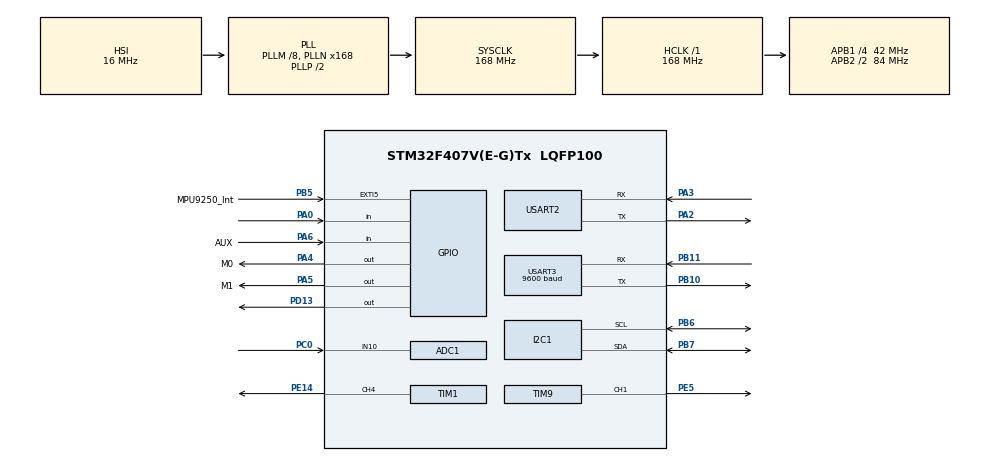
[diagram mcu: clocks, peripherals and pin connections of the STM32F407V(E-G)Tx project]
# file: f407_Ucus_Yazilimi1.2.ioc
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ADC1.Channel-0\#ChannelRegularConversion=ADC_CHANNEL_10
ADC1.ContinuousConvMode=ENABLE
ADC1.NbrOfConversionFlag=1
ADC1.Rank-0\#ChannelRegularConversion=1
ADC1.SamplingTime-0\#ChannelRegularConversion=ADC_SAMPLETIME_112CYCLES
ADC1.master=1
Dma.Request0=USART2_TX
Dma.Request1=USART2_RX
Dma.USART2_RX.1.Direction=DMA_PERIPH_TO_MEMORY
Dma.USART2_RX.1.FIFOMode=DMA_FIFOMODE_DISABLE
Dma.USART2_RX.1.Instance=DMA1_Stream5
Dma.USART2_RX.1.MemDataAlignment=DMA_MDATAALIGN_BYTE
Dma.USART2_RX.1.MemInc=DMA_MINC_ENABLE
Dma.USART2_RX.1.Mode=DMA_NORMAL
Dma.USART2_RX.1.PeriphDataAlignment=DMA_PDATAALIGN_BYTE
Dma.USART2_RX.1.PeriphInc=DMA_PINC_DISABLE
Dma.USART2_RX.1.Priority=DMA_PRIORITY_LOW
Dma.USART2_TX.0.Direction=DMA_MEMORY_TO_PERIPH
Dma.USART2_TX.0.FIFOMode=DMA_FIFOMODE_DISABLE
Dma.USART2_TX.0.Instance=DMA1_Stream6
Dma.USART2_TX.0.MemDataAlignment=DMA_MDATAALIGN_BYTE
Dma.USART2_TX.0.MemInc=DMA_MINC_ENABLE
Dma.USART2_TX.0.Mode=DMA_NORMAL
Dma.USART2_TX.0.PeriphDataAlignment=DMA_PDATAALIGN_BYTE
Dma.USART2_TX.0.PeriphInc=DMA_PINC_DISABLE
Dma.USART2_TX.0.Priority=DMA_PRIORITY_LOW
I2C1.I2C_Mode=I2C_Fast
Mcu.Family=STM32F4
Mcu.Name=STM32F407V(E-G)Tx
Mcu.Package=LQFP100
NVIC.DMA1_Stream5_IRQn=true\:0\:0\:false\:false\:true\:false\:true\:true
NVIC.DMA1_Stream6_IRQn=true\:0\:0\:false\:false\:true\:false\:true\:true
NVIC.EXTI9_5_IRQn=true\:0\:0\:false\:false\:true\:true\:true\:true
NVIC.PriorityGroup=NVIC_PRIORITYGROUP_4
NVIC.TIM6_DAC_IRQn=true\:0\:0\:false\:false\:true\:true\:true\:true
NVIC.TIM8_BRK_TIM12_IRQn=true\:0\:0\:false\:false\:true\:true\:true\:true
NVIC.USART2_IRQn=true\:0\:0\:false\:false\:true\:true\:true\:true
NVIC.USART3_IRQn=true\:0\:0\:false\:false\:true\:true\:true\:true
PA0-WKUP.GPIO_PuPd=GPIO_PULLDOWN
PA0-WKUP.Signal=GPIO_Input
PA2.Mode=Asynchronous
PA2.Signal=USART2_TX
PA3.Mode=Asynchronous
PA3.Signal=USART2_RX
PA4.GPIO_Label=M0
PA4.Signal=GPIO_Output
PA5.GPIO_Label=M1
PA5.Signal=GPIO_Output
PA6.GPIO_Label=AUX
PA6.Signal=GPIO_Input
PB10.Mode=Asynchronous
PB10.Signal=USART3_TX
PB11.Mode=Asynchronous
PB11.Signal=USART3_RX
PB5.GPIO_Label=MPU9250_Int
PB5.Signal=GPXTI5
PB6.Mode=I2C
PB6.Signal=I2C1_SCL
PB7.Mode=I2C
PB7.Signal=I2C1_SDA
PC0.Signal=ADCx_IN10
PD13.Signal=GPIO_Output
PE14.Signal=S_TIM1_CH4
PE5.Signal=S_TIM9_CH1
ProjectManager.HeapSize=0x200
ProjectManager.StackSize=0x400
ProjectManager.TargetToolchain=STM32CubeIDE
RCC.48MHZClocksFreq_Value=84000000
RCC.AHBFreq_Value=168000000
RCC.APB1CLKDivider=RCC_HCLK_DIV4
RCC.APB1Freq_Value=42000000
RCC.APB1TimFreq_Value=84000000
RCC.APB2CLKDivider=RCC_HCLK_DIV2
RCC.APB2Freq_Value=84000000
RCC.APB2TimFreq_Value=168000000
RCC.CortexFreq_Value=168000000
RCC.HCLKFreq_Value=168000000
RCC.HSE_VALUE=25000000
RCC.HSI_VALUE=16000000
RCC.LSE_VALUE=32768
RCC.PLLM=8
RCC.PLLN=168
RCC.SYSCLKFreq_VALUE=168000000
RCC.SYSCLKSource=RCC_SYSCLKSOURCE_PLLCLK
RCC.VCOOutputFreq_Value=336000000
SH.ADCx_IN10.0=ADC1_IN10,IN10
SH.S_TIM1_CH4.0=TIM1_CH4,PWM Generation4 CH4
SH.S_TIM9_CH1.0=TIM9_CH1,PWM Generation1 CH1
TIM1.Channel-PWM\ Generation4\ CH4=TIM_CHANNEL_4
TIM1.Period=19999
TIM1.Prescaler=167
TIM12.AutoReloadPreload=TIM_AUTORELOAD_PRELOAD_ENABLE
TIM12.Period=5000-1
TIM12.Prescaler=84-1
TIM2.AutoReloadPreload=TIM_AUTORELOAD_PRELOAD_ENABLE
TIM2.Prescaler=84-1
TIM6.Period=4999
TIM6.Prescaler=8399
TIM9.Channel-PWM\ Generation1\ CH1=TIM_CHANNEL_1
TIM9.Period=19999
TIM9.Prescaler=167
USART2.VirtualMode=VM_ASYNC
USART3.BaudRate=9600
USART3.VirtualMode=VM_ASYNC
VP_TIM12_VS_ClockSourceINT.Mode=Internal
VP_TIM1_VS_ClockSourceINT.Mode=Internal
VP_TIM2_VS_ClockSourceINT.Mode=Internal
VP_TIM6_VS_ClockSourceINT.Mode=Enable_Timer
VP_TIM9_VS_ClockSourceINT.Mode=Internal
board=custom

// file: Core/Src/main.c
/* USER CODE BEGIN Header */
/**
  ******************************************************************************
  * @file           : main.c
  * @brief          : Main program body
  ******************************************************************************
  * @attention
  *
  * Copyright (c) 2026 STMicroelectronics.
  * All rights reserved.
  *
  * This software is licensed under terms that can be found in the LICENSE file
  * in the root directory of this software component.
  * If no LICENSE file comes with this software, it is provided AS-IS.
  *
  ******************************************************************************
  */
/* USER CODE END Header */
#include "main.h"

/* USER CODE BEGIN Includes */
#include "M0.0_DataCenter.h"
#include "Sensor_Kodlari.h"
#include "Eylem_Bloklari.h"
#include "M3.1_Calibration.h"

#include "M3.0_FilterSystem.h"
#include "M3.2_Attitude.h"
#include "M3.3_Yaw.h"

#include "TM.h"
/* USER CODE END Includes */

/* USER CODE BEGIN PTD */
DataCenter DC;
/* USER CODE END PTD */

ADC_HandleTypeDef hadc1;

I2C_HandleTypeDef hi2c1;

TIM_HandleTypeDef htim1;
TIM_HandleTypeDef htim2;
TIM_HandleTypeDef htim6;
TIM_HandleTypeDef htim9;
TIM_HandleTypeDef htim12;

UART_HandleTypeDef huart2;
UART_HandleTypeDef huart3;
DMA_HandleTypeDef hdma_usart2_tx;
DMA_HandleTypeDef hdma_usart2_rx;

/* USER CODE BEGIN PV */
uint8_t watchdog=0;
uint8_t akis_yonlendiricisi=0;

uint8_t TelemetriTimer = 0;
uint8_t SensorTimer = 0;

uint32_t kestirimTimerLastMicro = 0;

volatile uint8_t tx_complete = 1;
volatile uint8_t mod_degisti_bayragi = 1;
volatile uint8_t veri_geldi_bayragi  = 0;
volatile uint16_t rx_uzunluk         = 0;
volatile int32_t aktif_mod           = SISTEM_MOD_TX; // 0: TX (Telemetri Gönder), 1: RX (Komut Bekle)
volatile uint32_t paket_sayaci = 0;
/* USER CODE END PV */

void SystemClock_Config(void);
static void MX_GPIO_Init(void);
static void MX_DMA_Init(void);
static void MX_TIM2_Init(void);
static void MX_I2C1_Init(void);
static void MX_TIM12_Init(void);
static void MX_ADC1_Init(void);
static void MX_USART3_UART_Init(void);
static void MX_USART2_UART_Init(void);
static void MX_TIM6_Init(void);
static void MX_TIM9_Init(void);
static void MX_TIM1_Init(void);
/* USER CODE BEGIN PFP */
uint32_t getMicros(void);
/* USER CODE END PFP */

int main(void)
{

  /* MCU Configuration--------------------------------------------------------*/

  /* Reset of all peripherals, Initializes the Flash interface and the Systick. */
  HAL_Init();

  /* Configure the system clock */
  SystemClock_Config();

  /* Initialize all configured peripherals */
  MX_GPIO_Init();
  MX_DMA_Init();
  MX_TIM2_Init();
  MX_I2C1_Init();
  MX_TIM12_Init();
  MX_ADC1_Init();
  MX_USART3_UART_Init();
  MX_USART2_UART_Init();
  MX_TIM6_Init();
  MX_TIM9_Init();
  MX_TIM1_Init();
  /* USER CODE BEGIN 2 */
  HAL_TIM_Base_Start(&htim2);
  HAL_TIM_Base_Start_IT(&htim6);
  HAL_TIM_PWM_Start(&htim9, TIM_CHANNEL_1);
  HAL_TIM_PWM_Start(&htim1, TIM_CHANNEL_4);

  M3_1_Calibration_LoadDefaults(&DC);

  FilterSystem_Init(&DC);

  kestirimTimerLastMicro = getMicros();

  //HAL_TIM_Base_Start(&htim12);
  HAL_TIM_Base_Start_IT(&htim12);

  if(Sensors_Init(&hi2c1, &huart3, MPU9250_Int_Pin)==0){
	  Error_Handler();
  }

  static uint32_t calibmenusayac=0;
  while(HAL_GPIO_ReadPin(GPIOA, GPIO_PIN_0)==0){calibmenusayac = HAL_GetTick(); watchdog=1;}
  while(HAL_GPIO_ReadPin(GPIOA, GPIO_PIN_0)==1){watchdog=2;}
  if(HAL_GetTick()-calibmenusayac <= 1000){
	  akis_yonlendiricisi=0;
  }

  else if(HAL_GetTick()-calibmenusayac > 1000){
	  akis_yonlendiricisi=20;
  }

HAL_Delay(500);
watchdog=10;

HAL_GPIO_WritePin(GPIOA, M0_Pin, GPIO_PIN_RESET);
  HAL_GPIO_WritePin(GPIOA, M1_Pin, GPIO_PIN_RESET);
    // Modülün moda geçmesi için kısa bir süre bekle
    HAL_Delay(5);

    // Başlangıçta struct'ın içini temizle (paket no vs. 0 olsun)
  /*memset(&telemetri, 0, sizeof(TelemetriPaketi_t));
  memset(&sensorler, 0, sizeof(SensorVerileri_t));*/

  HAL_TIM_Base_Start_IT(&htim2);

  /* USER CODE END 2 */

  /* Infinite loop */
  while (1)
  {

    /* USER CODE BEGIN 3 */

	  /* --- GÖREV 1: ZAMAN DİLİMİ (MOD) DE�?İ�?İMİ --- */
	  if (mod_degisti_bayragi==1)
	  {
		  watchdog=80;
		  mod_degisti_bayragi = 0;

		  if (aktif_mod == SISTEM_MOD_TX)
		  {
			  watchdog=81;
			  // Sensörleri oku ve paketi hazırla
			  Sensor_Oku(&DC);
			  TM_Paket_Olustur();

			  // LoRa modülü önceki işlemden veya dinlemeden çıkıp boşa çıkana kadar bekle
			  while (HAL_GPIO_ReadPin(AUX_GPIO_Port, AUX_Pin) == GPIO_PIN_RESET) {}

			  Telemetri_Gonder();
			  paket_sayaci++;
		  }
		  else if (aktif_mod == SISTEM_MOD_RX)
		  {
			  watchdog=82;
			  // LoRa modülü boştayken dinlemeye başla
			  while (HAL_GPIO_ReadPin(AUX_GPIO_Port, AUX_Pin) == GPIO_PIN_RESET) {}
			  Komut_Dinlemeye_Basla();
		  }
	  }

	  /* --- GÖREV 2: YER İSTASYONUNDAN KOMUT GELDİ --- */
	  if (veri_geldi_bayragi==1)
	  {
		  veri_geldi_bayragi = 0;

		  // Çakışmayı önlemek için sadece RX modundayken gelen veriyi işle
		  if (aktif_mod == SISTEM_MOD_RX)
		  {
			  Komut_Isle();
		  }
	  }

	  TelemetriFonksiyonu(TelemetriTimer);
	  SensorleriOku(&DC,getMicros());

	  switch(akis_yonlendiricisi){

	  case 0:
		  TelemetriTimer=1;
		  VideoFunction(1);
		  SensorTimer=1;
		  akis_yonlendiricisi=1;
		  break;

	  case 1:
		  /*if(FallingStart(&datacenter, getMicros())==1){
			  akis_yonlendiricisi=2;
		  }*/
		  break;

	  case 2:
		  /*if(AyrilmaliMi(&datacenter, getMicros())==1){
			  Ayril();
			  akis_yonlendiricisi=3;
		  }*/
		  break;

	  case 3:
		  /*if(AyrildiMi(&datacenter, getMicros())==1){
			  SigmaAc();
			  //MotorArm();
			  PidHedefYukseklik(HOVER_YUKSEKLIGI_m);
			  akis_yonlendiricisi=4;
		  }*/
		  break;

	  case 4:
		  //SigmaKontrolBlogu
		  /*if(ApamAcilmaliMi(&datacenter, getMicros())==1){
			  ApamAc();
			  akis_yonlendiricisi=8;
			  break;
		  }
		  if(HoverStart(&datacenter, getMicros())==1){

		  }
		  if(HoverExit(&datacenter, getMicros())==1){
			  PidHedefYukseklik(YERE_INIS_YUKSEKLIGI_m);
		  }
		  if(FallingStop(&datacenter, getMicros())==1){
			  //MotorStop();
			  VideoFunction(0);
			  akis_yonlendiricisi=5;
		  }*/
		  break;

	  case 5:
		  if(Buzzer(10000)==1){
			  TelemetriTimer=0;
			  SensorTimer=0;
			  akis_yonlendiricisi=6;
		  }
		  break;

	  case 8:
		  /*if(FallingStop(&datacenter, getMicros())==1){
			  VideoFunction(0);
			  akis_yonlendiricisi=5;
		  }*/
		  break;

	  case 20:
		  watchdog=20;
		  M3_1_Calibration_Reset();
		  calibmenusayac = HAL_GetTick();
		  akis_yonlendiricisi=21;

		  break;

	  case 21:
		  watchdog=21;
		  M3_1_Calibration_Accumulate(&DC);
		  if(HAL_GetTick() - calibmenusayac > 5000){
			  akis_yonlendiricisi=22;
		  }
		  break;

	  case 22:
		  watchdog=22;
		  HAL_NVIC_DisableIRQ(TIM8_BRK_TIM12_IRQn); // Kesmeyi durdur
		  M3_1_Calibration_Calculate(&DC);
		  FilterSystem_Init(&DC);
		  HAL_NVIC_EnableIRQ(TIM8_BRK_TIM12_IRQn);  // İşlem bitince tekrar aç
		  akis_yonlendiricisi = 50;
		  break;

	  case 50:
		  //watchdog=23;
		  break;
	  }

  }

  /* USER CODE END 3 */
}

void SystemClock_Config(void)
{
  RCC_OscInitTypeDef RCC_OscInitStruct = {0};
  RCC_ClkInitTypeDef RCC_ClkInitStruct = {0};

  /** Configure the main internal regulator output voltage
  */
  __HAL_RCC_PWR_CLK_ENABLE();
  __HAL_PWR_VOLTAGESCALING_CONFIG(PWR_REGULATOR_VOLTAGE_SCALE1);

  /** Initializes the RCC Oscillators according to the specified parameters
  * in the RCC_OscInitTypeDef structure.
  */
  RCC_OscInitStruct.OscillatorType = RCC_OSCILLATORTYPE_HSI;
  RCC_OscInitStruct.HSIState = RCC_HSI_ON;
  RCC_OscInitStruct.HSICalibrationValue = RCC_HSICALIBRATION_DEFAULT;
  RCC_OscInitStruct.PLL.PLLState = RCC_PLL_ON;
  RCC_OscInitStruct.PLL.PLLSource = RCC_PLLSOURCE_HSI;
  RCC_OscInitStruct.PLL.PLLM = 8;
  RCC_OscInitStruct.PLL.PLLN = 168;
  RCC_OscInitStruct.PLL.PLLP = RCC_PLLP_DIV2;
  RCC_OscInitStruct.PLL.PLLQ = 4;
  if (HAL_RCC_OscConfig(&RCC_OscInitStruct) != HAL_OK)
  {
    Error_Handler();
  }

  /** Initializes the CPU, AHB and APB buses clocks
  */
  RCC_ClkInitStruct.ClockType = RCC_CLOCKTYPE_HCLK|RCC_CLOCKTYPE_SYSCLK
                              |RCC_CLOCKTYPE_PCLK1|RCC_CLOCKTYPE_PCLK2;
  RCC_ClkInitStruct.SYSCLKSource = RCC_SYSCLKSOURCE_PLLCLK;
  RCC_ClkInitStruct.AHBCLKDivider = RCC_SYSCLK_DIV1;
  RCC_ClkInitStruct.APB1CLKDivider = RCC_HCLK_DIV4;
  RCC_ClkInitStruct.APB2CLKDivider = RCC_HCLK_DIV2;

  if (HAL_RCC_ClockConfig(&RCC_ClkInitStruct, FLASH_LATENCY_5) != HAL_OK)
  {
    Error_Handler();
  }
}

static void MX_ADC1_Init(void)
{

  ADC_ChannelConfTypeDef sConfig = {0};

  /** Configure the global features of the ADC (Clock, Resolution, Data Alignment and number of conversion)
  */
  hadc1.Instance = ADC1;
  hadc1.Init.ClockPrescaler = ADC_CLOCK_SYNC_PCLK_DIV4;
  hadc1.Init.Resolution = ADC_RESOLUTION_12B;
  hadc1.Init.ScanConvMode = DISABLE;
  hadc1.Init.ContinuousConvMode = ENABLE;
  hadc1.Init.DiscontinuousConvMode = DISABLE;
  hadc1.Init.ExternalTrigConvEdge = ADC_EXTERNALTRIGCONVEDGE_NONE;
  hadc1.Init.ExternalTrigConv = ADC_SOFTWARE_START;
  hadc1.Init.DataAlign = ADC_DATAALIGN_RIGHT;
  hadc1.Init.NbrOfConversion = 1;
  hadc1.Init.DMAContinuousRequests = DISABLE;
  hadc1.Init.EOCSelection = ADC_EOC_SINGLE_CONV;
  if (HAL_ADC_Init(&hadc1) != HAL_OK)
  {
    Error_Handler();
  }

  /** Configure for the selected ADC regular channel its corresponding rank in the sequencer and its sample time.
  */
  sConfig.Channel = ADC_CHANNEL_10;
  sConfig.Rank = 1;
  sConfig.SamplingTime = ADC_SAMPLETIME_112CYCLES;
  if (HAL_ADC_ConfigChannel(&hadc1, &sConfig) != HAL_OK)
  {
    Error_Handler();
  }

}

static void MX_I2C1_Init(void)
{

  hi2c1.Instance = I2C1;
  hi2c1.Init.ClockSpeed = 400000;
  hi2c1.Init.DutyCycle = I2C_DUTYCYCLE_2;
  hi2c1.Init.OwnAddress1 = 0;
  hi2c1.Init.AddressingMode = I2C_ADDRESSINGMODE_7BIT;
  hi2c1.Init.DualAddressMode = I2C_DUALADDRESS_DISABLE;
  hi2c1.Init.OwnAddress2 = 0;
  hi2c1.Init.GeneralCallMode = I2C_GENERALCALL_DISABLE;
  hi2c1.Init.NoStretchMode = I2C_NOSTRETCH_DISABLE;
  if (HAL_I2C_Init(&hi2c1) != HAL_OK)
  {
    Error_Handler();
  }

}

static void MX_TIM1_Init(void)
{

  TIM_ClockConfigTypeDef sClockSourceConfig = {0};
  TIM_MasterConfigTypeDef sMasterConfig = {0};
  TIM_OC_InitTypeDef sConfigOC = {0};
  TIM_BreakDeadTimeConfigTypeDef sBreakDeadTimeConfig = {0};

  htim1.Instance = TIM1;
  htim1.Init.Prescaler = 167;
  htim1.Init.CounterMode = TIM_COUNTERMODE_UP;
  htim1.Init.Period = 19999;
  htim1.Init.ClockDivision = TIM_CLOCKDIVISION_DIV1;
  htim1.Init.RepetitionCounter = 0;
  htim1.Init.AutoReloadPreload = TIM_AUTORELOAD_PRELOAD_DISABLE;
  if (HAL_TIM_Base_Init(&htim1) != HAL_OK)
  {
    Error_Handler();
  }
  sClockSourceConfig.ClockSource = TIM_CLOCKSOURCE_INTERNAL;
  if (HAL_TIM_ConfigClockSource(&htim1, &sClockSourceConfig) != HAL_OK)
  {
    Error_Handler();
  }
  if (HAL_TIM_PWM_Init(&htim1) != HAL_OK)
  {
    Error_Handler();
  }
  sMasterConfig.MasterOutputTrigger = TIM_TRGO_RESET;
  sMasterConfig.MasterSlaveMode = TIM_MASTERSLAVEMODE_DISABLE;
  if (HAL_TIMEx_MasterConfigSynchronization(&htim1, &sMasterConfig) != HAL_OK)
  {
    Error_Handler();
  }
  sConfigOC.OCMode = TIM_OCMODE_PWM1;
  sConfigOC.Pulse = 0;
  sConfigOC.OCPolarity = TIM_OCPOLARITY_HIGH;
  sConfigOC.OCFastMode = TIM_OCFAST_DISABLE;
  sConfigOC.OCIdleState = TIM_OCIDLESTATE_RESET;
  sConfigOC.OCNIdleState = TIM_OCNIDLESTATE_RESET;
  if (HAL_TIM_PWM_ConfigChannel(&htim1, &sConfigOC, TIM_CHANNEL_4) != HAL_OK)
  {
    Error_Handler();
  }
  sBreakDeadTimeConfig.OffStateRunMode = TIM_OSSR_DISABLE;
  sBreakDeadTimeConfig.OffStateIDLEMode = TIM_OSSI_DISABLE;
  sBreakDeadTimeConfig.LockLevel = TIM_LOCKLEVEL_OFF;
  sBreakDeadTimeConfig.DeadTime = 0;
  sBreakDeadTimeConfig.BreakState = TIM_BREAK_DISABLE;
  sBreakDeadTimeConfig.BreakPolarity = TIM_BREAKPOLARITY_HIGH;
  sBreakDeadTimeConfig.AutomaticOutput = TIM_AUTOMATICOUTPUT_DISABLE;
  if (HAL_TIMEx_ConfigBreakDeadTime(&htim1, &sBreakDeadTimeConfig) != HAL_OK)
  {
    Error_Handler();
  }
  HAL_TIM_MspPostInit(&htim1);

}

static void MX_TIM2_Init(void)
{

  TIM_ClockConfigTypeDef sClockSourceConfig = {0};
  TIM_MasterConfigTypeDef sMasterConfig = {0};

  htim2.Instance = TIM2;
  htim2.Init.Prescaler = 84-1;
  htim2.Init.CounterMode = TIM_COUNTERMODE_UP;
  htim2.Init.Period = 4294967295;
  htim2.Init.ClockDivision = TIM_CLOCKDIVISION_DIV1;
  htim2.Init.AutoReloadPreload = TIM_AUTORELOAD_PRELOAD_ENABLE;
  if (HAL_TIM_Base_Init(&htim2) != HAL_OK)
  {
    Error_Handler();
  }
  sClockSourceConfig.ClockSource = TIM_CLOCKSOURCE_INTERNAL;
  if (HAL_TIM_ConfigClockSource(&htim2, &sClockSourceConfig) != HAL_OK)
  {
    Error_Handler();
  }
  sMasterConfig.MasterOutputTrigger = TIM_TRGO_RESET;
  sMasterConfig.MasterSlaveMode = TIM_MASTERSLAVEMODE_DISABLE;
  if (HAL_TIMEx_MasterConfigSynchronization(&htim2, &sMasterConfig) != HAL_OK)
  {
    Error_Handler();
  }

}

static void MX_TIM6_Init(void)
{

  TIM_MasterConfigTypeDef sMasterConfig = {0};

  htim6.Instance = TIM6;
  htim6.Init.Prescaler = 8399;
  htim6.Init.CounterMode = TIM_COUNTERMODE_UP;
  htim6.Init.Period = 4999;
  htim6.Init.AutoReloadPreload = TIM_AUTORELOAD_PRELOAD_DISABLE;
  if (HAL_TIM_Base_Init(&htim6) != HAL_OK)
  {
    Error_Handler();
  }
  sMasterConfig.MasterOutputTrigger = TIM_TRGO_RESET;
  sMasterConfig.MasterSlaveMode = TIM_MASTERSLAVEMODE_DISABLE;
  if (HAL_TIMEx_MasterConfigSynchronization(&htim6, &sMasterConfig) != HAL_OK)
  {
    Error_Handler();
  }

}

static void MX_TIM9_Init(void)
{

  TIM_ClockConfigTypeDef sClockSourceConfig = {0};
  TIM_OC_InitTypeDef sConfigOC = {0};

  htim9.Instance = TIM9;
  htim9.Init.Prescaler = 167;
  htim9.Init.CounterMode = TIM_COUNTERMODE_UP;
  htim9.Init.Period = 19999;
  htim9.Init.ClockDivision = TIM_CLOCKDIVISION_DIV1;
  htim9.Init.AutoReloadPreload = TIM_AUTORELOAD_PRELOAD_DISABLE;
  if (HAL_TIM_Base_Init(&htim9) != HAL_OK)
  {
    Error_Handler();
  }
  sClockSourceConfig.ClockSource = TIM_CLOCKSOURCE_INTERNAL;
  if (HAL_TIM_ConfigClockSource(&htim9, &sClockSourceConfig) != HAL_OK)
  {
    Error_Handler();
  }
  if (HAL_TIM_PWM_Init(&htim9) != HAL_OK)
  {
    Error_Handler();
  }
  sConfigOC.OCMode = TIM_OCMODE_PWM1;
  sConfigOC.Pulse = 0;
  sConfigOC.OCPolarity = TIM_OCPOLARITY_HIGH;
  sConfigOC.OCFastMode = TIM_OCFAST_DISABLE;
  if (HAL_TIM_PWM_ConfigChannel(&htim9, &sConfigOC, TIM_CHANNEL_1) != HAL_OK)
  {
    Error_Handler();
  }
  HAL_TIM_MspPostInit(&htim9);

}

static void MX_TIM12_Init(void)
{

  TIM_ClockConfigTypeDef sClockSourceConfig = {0};

  htim12.Instance = TIM12;
  htim12.Init.Prescaler = 84-1;
  htim12.Init.CounterMode = TIM_COUNTERMODE_UP;
  htim12.Init.Period = 5000-1;
  htim12.Init.ClockDivision = TIM_CLOCKDIVISION_DIV1;
  htim12.Init.AutoReloadPreload = TIM_AUTORELOAD_PRELOAD_ENABLE;
  if (HAL_TIM_Base_Init(&htim12) != HAL_OK)
  {
    Error_Handler();
  }
  sClockSourceConfig.ClockSource = TIM_CLOCKSOURCE_INTERNAL;
  if (HAL_TIM_ConfigClockSource(&htim12, &sClockSourceConfig) != HAL_OK)
  {
    Error_Handler();
  }

}

static void MX_USART2_UART_Init(void)
{

  huart2.Instance = USART2;
  huart2.Init.BaudRate = 115200;
  huart2.Init.WordLength = UART_WORDLENGTH_8B;
  huart2.Init.StopBits = UART_STOPBITS_1;
  huart2.Init.Parity = UART_PARITY_NONE;
  huart2.Init.Mode = UART_MODE_TX_RX;
  huart2.Init.HwFlowCtl = UART_HWCONTROL_NONE;
  huart2.Init.OverSampling = UART_OVERSAMPLING_16;
  if (HAL_UART_Init(&huart2) != HAL_OK)
  {
    Error_Handler();
  }

}

static void MX_USART3_UART_Init(void)
{

  huart3.Instance = USART3;
  huart3.Init.BaudRate = 9600;
  huart3.Init.WordLength = UART_WORDLENGTH_8B;
  huart3.Init.StopBits = UART_STOPBITS_1;
  huart3.Init.Parity = UART_PARITY_NONE;
  huart3.Init.Mode = UART_MODE_TX_RX;
  huart3.Init.HwFlowCtl = UART_HWCONTROL_NONE;
  huart3.Init.OverSampling = UART_OVERSAMPLING_16;
  if (HAL_UART_Init(&huart3) != HAL_OK)
  {
    Error_Handler();
  }

}

static void MX_DMA_Init(void)
{

  /* DMA controller clock enable */
  __HAL_RCC_DMA1_CLK_ENABLE();

  /* DMA interrupt init */
  /* DMA1_Stream5_IRQn interrupt configuration */
  HAL_NVIC_SetPriority(DMA1_Stream5_IRQn, 0, 0);
  HAL_NVIC_EnableIRQ(DMA1_Stream5_IRQn);
  /* DMA1_Stream6_IRQn interrupt configuration */
  HAL_NVIC_SetPriority(DMA1_Stream6_IRQn, 0, 0);
  HAL_NVIC_EnableIRQ(DMA1_Stream6_IRQn);

}

static void MX_GPIO_Init(void)
{
  GPIO_InitTypeDef GPIO_InitStruct = {0};

  /* GPIO Ports Clock Enable */
  __HAL_RCC_GPIOE_CLK_ENABLE();
  __HAL_RCC_GPIOC_CLK_ENABLE();
  __HAL_RCC_GPIOA_CLK_ENABLE();
  __HAL_RCC_GPIOB_CLK_ENABLE();
  __HAL_RCC_GPIOD_CLK_ENABLE();

  /*Configure GPIO pin Output Level */
  HAL_GPIO_WritePin(GPIOA, M0_Pin|M1_Pin, GPIO_PIN_RESET);

  /*Configure GPIO pin Output Level */
  HAL_GPIO_WritePin(GPIOD, GPIO_PIN_13, GPIO_PIN_RESET);

  /*Configure GPIO pin : PA0 */
  GPIO_InitStruct.Pin = GPIO_PIN_0;
  GPIO_InitStruct.Mode = GPIO_MODE_INPUT;
  GPIO_InitStruct.Pull = GPIO_PULLDOWN;
  HAL_GPIO_Init(GPIOA, &GPIO_InitStruct);

  /*Configure GPIO pins : M0_Pin M1_Pin */
  GPIO_InitStruct.Pin = M0_Pin|M1_Pin;
  GPIO_InitStruct.Mode = GPIO_MODE_OUTPUT_PP;
  GPIO_InitStruct.Pull = GPIO_NOPULL;
  GPIO_InitStruct.Speed = GPIO_SPEED_FREQ_LOW;
  HAL_GPIO_Init(GPIOA, &GPIO_InitStruct);

  /*Configure GPIO pin : AUX_Pin */
  GPIO_InitStruct.Pin = AUX_Pin;
  GPIO_InitStruct.Mode = GPIO_MODE_INPUT;
  GPIO_InitStruct.Pull = GPIO_NOPULL;
  HAL_GPIO_Init(AUX_GPIO_Port, &GPIO_InitStruct);

  /*Configure GPIO pin : PD13 */
  GPIO_InitStruct.Pin = GPIO_PIN_13;
  GPIO_InitStruct.Mode = GPIO_MODE_OUTPUT_PP;
  GPIO_InitStruct.Pull = GPIO_NOPULL;
  GPIO_InitStruct.Speed = GPIO_SPEED_FREQ_LOW;
  HAL_GPIO_Init(GPIOD, &GPIO_InitStruct);

  /*Configure GPIO pin : MPU9250_Int_Pin */
  GPIO_InitStruct.Pin = MPU9250_Int_Pin;
  GPIO_InitStruct.Mode = GPIO_MODE_IT_RISING;
  GPIO_InitStruct.Pull = GPIO_NOPULL;
  HAL_GPIO_Init(MPU9250_Int_GPIO_Port, &GPIO_InitStruct);

  /* EXTI interrupt init*/
  HAL_NVIC_SetPriority(EXTI9_5_IRQn, 0, 0);
  HAL_NVIC_EnableIRQ(EXTI9_5_IRQn);

}

/* USER CODE BEGIN 4 */
uint32_t getMicros()
{
    // Doğrudan Timer'ın o anki sayıcı değerini (CNT) döndürür
    return __HAL_TIM_GET_COUNTER(&htim2);
}

void HAL_GPIO_EXTI_Callback(uint16_t GPIO_Pin)
{
	MPU9250_Int_Fonksiyonu(GPIO_Pin);

}

void HAL_UART_RxCpltCallback(UART_HandleTypeDef *huart)
{
	GPS_Uart_Int_Fonksiyonu(huart);
}

void HAL_TIM_PeriodElapsedCallback(TIM_HandleTypeDef *htim)
{
    if (htim->Instance == TIM12)
    {
    	//watchdog=100;
    	//kestirim
    	//pid hesabı
    	float dt = ((float)(getMicros() - kestirimTimerLastMicro))/1000000.0f;
    	if(dt<=0.0f || dt>=1.0f){
    		dt=0.002f;
    	}
    	kestirimTimerLastMicro = getMicros();

    	// 3. Yönelim (Attitude) Filtresini (EKF) Çalıştır
		// EKF, düzeltilmiş ivme ve jiroskop verilerini kullanarak sadece kuaterniyonları (q0-q3) hesaplar.
		FilterSystem_Update(&DC, dt);

		// 4. Kuaterniyonlardan Pitch ve Roll (Yunuslama/Yuvarlanma) açılarını bul
		M3_2_Attitude_Update(&DC);

		// 5. Yaw (Pusula) açısını bul (Pitch ve Roll verisine ihtiyaç duyar)
		M3_3_Yaw_Update(&DC, dt);

		// 4. (Gelecekte) Yükseklik Filtresi (1D EKF) ve Konum Filtresi burada çalıştırılacak

		// 5. (Gelecekte) PID Kontrolcüsü burada çalışacak ve motor PWM'leri güncellenecek

    }

    if (htim->Instance == TIM6) {
            aktif_mod = (aktif_mod + 1) % 2;
            mod_degisti_bayragi = 1;
        }
}

// UART Idle Line Kesmesi: Paket tamamen alındığında tetiklenir
void HAL_UARTEx_RxEventCallback(UART_HandleTypeDef *huart, uint16_t Size)
{
    if (huart->Instance == USART2) {
        rx_uzunluk = Size;
        veri_geldi_bayragi = 1;

        // Dinlemeyi tazelemek veya durdurmak isterseniz burada müdahale edebilirsiniz
        __HAL_DMA_DISABLE_IT(huart->hdmarx, DMA_IT_HT); //Half-Transfer kapatılır
    }
}

void HAL_UART_ErrorCallback(UART_HandleTypeDef *huart)
{
    if (huart->Instance == USART2)
    {
        // Donanımsal bir hata (Noise, Overrun, Framing) oluştuğunda
        // kilitlenmeyi önlemek için mevcut işlemi iptal et (Abort).
        HAL_UART_Abort(huart);

        // Sistemin sonsuz döngüde sıkışmaması için bayrağı tekrar 1 yap,
        // böylece bir sonraki saniye yeni paket gönderimi denenebilir.
        tx_complete = 1;
    }
}
/* USER CODE END 4 */

void Error_Handler(void)
{
  __disable_irq();
  while (1)
  {
  }
}
